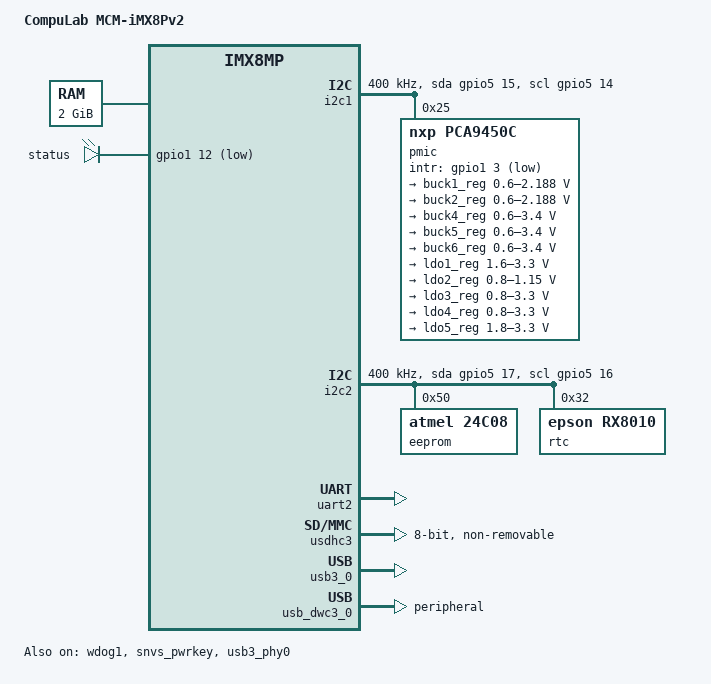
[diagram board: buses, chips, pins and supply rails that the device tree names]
// SPDX-License-Identifier: (GPL-2.0+ OR MIT)
/*
 * Copyright 2026 CompuLab
 */

/dts-v1/;

#include "imx8mp.dtsi"

/ {
	model = "CompuLab MCM-iMX8Pv2";
	compatible = "compulab,mcm-imx8pv2", "fsl,imx8mp";

	chosen {
		bootargs = "console=ttymxc1,115200 earlycon=ec_imx6q,0x30890000,115200";
		stdout-path = &uart2;
	};

	memory@40000000 {
		device_type = "memory";
		reg = <0x0 0x40000000 0 0x80000000>,
		      <0x1 0x00000000 0 0x00000000>;
	};

	leds {
		compatible = "gpio-leds";
		pinctrl-names = "default";
		pinctrl-0 = <&pinctrl_gpio_led>;

		status {
			label = "status";
			gpios = <&gpio1 12 GPIO_ACTIVE_LOW>;
			default-state = "on";
		};
	};
};

&i2c1 {
	clock-frequency = <400000>;
	pinctrl-names = "default", "gpio";
	pinctrl-0 = <&pinctrl_i2c1>;
	pinctrl-1 = <&pinctrl_i2c1_gpio>;
	scl-gpios = <&gpio5 14 GPIO_ACTIVE_HIGH>;
	sda-gpios = <&gpio5 15 GPIO_ACTIVE_HIGH>;
	status = "okay";

	pmic: pca9450@25 {
		reg = <0x25>;
		compatible = "nxp,pca9450c";
		/* PMIC PCA9450 PMIC_nINT GPIO1_IO3 */
		pinctrl-0 = <&pinctrl_pmic>;
		gpio_intr = <&gpio1 3 GPIO_ACTIVE_LOW>;

		regulators {
			#address-cells = <1>;
			#size-cells = <0>;

			pca9450,pmic-buck2-uses-i2c-dvs;
			/* Run/Standby voltage */
			pca9450,pmic-buck2-dvs-voltage = <950000>, <850000>;

			buck1_reg: regulator@0 {
				reg = <0>;
				regulator-compatible = "buck1";
				regulator-min-microvolt = <600000>;
				regulator-max-microvolt = <2187500>;
				regulator-boot-on;
				regulator-always-on;
				regulator-ramp-delay = <3125>;
			};

			buck2_reg: regulator@1 {
				reg = <1>;
				regulator-compatible = "buck2";
				regulator-min-microvolt = <600000>;
				regulator-max-microvolt = <2187500>;
				regulator-boot-on;
				regulator-always-on;
				regulator-ramp-delay = <3125>;
			};

			buck4_reg: regulator@3 {
				reg = <3>;
				regulator-compatible = "buck4";
				regulator-min-microvolt = <600000>;
				regulator-max-microvolt = <3400000>;
				regulator-boot-on;
				regulator-always-on;
			};

			buck5_reg: regulator@4 {
				reg = <4>;
				regulator-compatible = "buck5";
				regulator-min-microvolt = <600000>;
				regulator-max-microvolt = <3400000>;
				regulator-boot-on;
				regulator-always-on;
			};

			buck6_reg: regulator@5 {
				reg = <5>;
				regulator-compatible = "buck6";
				regulator-min-microvolt = <600000>;
				regulator-max-microvolt = <3400000>;
				regulator-boot-on;
				regulator-always-on;
			};

			ldo1_reg: regulator@6 {
				reg = <6>;
				regulator-compatible = "ldo1";
				regulator-min-microvolt = <1600000>;
				regulator-max-microvolt = <3300000>;
				regulator-boot-on;
				regulator-always-on;
			};

			ldo2_reg: regulator@7 {
				reg = <7>;
				regulator-compatible = "ldo2";
				regulator-min-microvolt = <800000>;
				regulator-max-microvolt = <1150000>;
				regulator-boot-on;
				regulator-always-on;
			};

			ldo3_reg: regulator@8 {
				reg = <8>;
				regulator-compatible = "ldo3";
				regulator-min-microvolt = <800000>;
				regulator-max-microvolt = <3300000>;
				regulator-boot-on;
				regulator-always-on;
			};

			ldo4_reg: regulator@9 {
				reg = <9>;
				regulator-compatible = "ldo4";
				regulator-min-microvolt = <800000>;
				regulator-max-microvolt = <3300000>;
				regulator-boot-on;
				regulator-always-on;
			};

			ldo5_reg: regulator@10 {
				reg = <10>;
				regulator-compatible = "ldo5";
				regulator-min-microvolt = <1800000>;
				regulator-max-microvolt = <3300000>;
			};
		};
	};
};

&i2c2 {
	clock-frequency = <400000>;
	pinctrl-names = "default", "gpio";
	pinctrl-0 = <&pinctrl_i2c2>;
	pinctrl-1 = <&pinctrl_i2c2_gpio>;
	scl-gpios = <&gpio5 16 GPIO_ACTIVE_HIGH>;
	sda-gpios = <&gpio5 17 GPIO_ACTIVE_HIGH>;
	status = "okay";

	eeprom@50 {
		compatible = "atmel,24c08";
		reg = <0x50>;
		pagesize = <16>;
	};

	rtc@32 {
		compatible = "epson,rx8010";
		reg = <0x32>;
	};
};

&uart2 {
	/* console */
	pinctrl-names = "default";
	pinctrl-0 = <&pinctrl_uart2>;
	status = "okay";
};

&usdhc3 {
	pinctrl-names = "default", "state_100mhz", "state_200mhz";
	pinctrl-0 = <&pinctrl_usdhc3>;
	pinctrl-1 = <&pinctrl_usdhc3_100mhz>;
	pinctrl-2 = <&pinctrl_usdhc3_200mhz>;
	bus-width = <8>;
	non-removable;
	status = "okay";
};

&wdog1 {
	pinctrl-names = "default";
	pinctrl-0 = <&pinctrl_wdog>;
	fsl,ext-reset-output;
	status = "okay";
};

&snvs_pwrkey {
	status = "okay";
};

/* USB1 is also the ROM serial-download port on the carrier interface. */
&usb3_phy0 {
	status = "okay";
};

&usb3_0 {
	status = "okay";
};

&usb_dwc3_0 {
	dr_mode = "peripheral";
	status = "okay";
};

&iomuxc {
	pinctrl_gpio_led: gpioledgrp {
		fsl,pins = <
			MX8MP_IOMUXC_GPIO1_IO12__GPIO1_IO12	0x140
		>;
	};

	pinctrl_i2c1: i2c1grp {
		fsl,pins = <
			MX8MP_IOMUXC_I2C1_SCL__I2C1_SCL		0x400001c2
			MX8MP_IOMUXC_I2C1_SDA__I2C1_SDA		0x400001c2
		>;
	};

	pinctrl_i2c1_gpio: i2c1grp-gpio {
		fsl,pins = <
			MX8MP_IOMUXC_I2C1_SCL__GPIO5_IO14        	0x1c2
			MX8MP_IOMUXC_I2C1_SDA__GPIO5_IO15        	0x1c2
		>;
	};

	pinctrl_i2c2: i2c2grp {
		fsl,pins = <
			MX8MP_IOMUXC_I2C2_SCL__I2C2_SCL			0x400001c2
			MX8MP_IOMUXC_I2C2_SDA__I2C2_SDA			0x400001c2
		>;
	};

	pinctrl_i2c2_gpio: i2c2grp-gpio {
		fsl,pins = <
			MX8MP_IOMUXC_I2C2_SCL__GPIO5_IO16        	0x1c2
			MX8MP_IOMUXC_I2C2_SDA__GPIO5_IO17        	0x1c2
		>;
	};

	pinctrl_pmic: pmicirq {
		fsl,pins = <
			MX8MP_IOMUXC_GPIO1_IO03__GPIO1_IO03	0x000001c0
		>;
	};

	pinctrl_uart2: uart2grp {
		fsl,pins = <
			MX8MP_IOMUXC_UART2_RXD__UART2_DCE_RX	0x140
			MX8MP_IOMUXC_UART2_TXD__UART2_DCE_TX	0x140
		>;
	};

	pinctrl_usdhc3: usdhc3grp {
		fsl,pins = <
			MX8MP_IOMUXC_NAND_WE_B__USDHC3_CLK	0x190
			MX8MP_IOMUXC_NAND_WP_B__USDHC3_CMD	0x1d0
			MX8MP_IOMUXC_NAND_DATA04__USDHC3_DATA0	0x1d0
			MX8MP_IOMUXC_NAND_DATA05__USDHC3_DATA1	0x1d0
			MX8MP_IOMUXC_NAND_DATA06__USDHC3_DATA2	0x1d0
			MX8MP_IOMUXC_NAND_DATA07__USDHC3_DATA3	0x1d0
			MX8MP_IOMUXC_NAND_RE_B__USDHC3_DATA4	0x1d0
			MX8MP_IOMUXC_NAND_CE2_B__USDHC3_DATA5	0x1d0
			MX8MP_IOMUXC_NAND_CE3_B__USDHC3_DATA6	0x1d0
			MX8MP_IOMUXC_NAND_CLE__USDHC3_DATA7	0x1d0
			MX8MP_IOMUXC_NAND_CE1_B__USDHC3_STROBE	0x190
		>;
	};

	pinctrl_usdhc3_100mhz: usdhc3grp-100mhz {
		fsl,pins = <
			MX8MP_IOMUXC_NAND_WE_B__USDHC3_CLK	0x194
			MX8MP_IOMUXC_NAND_WP_B__USDHC3_CMD	0x1d4
			MX8MP_IOMUXC_NAND_DATA04__USDHC3_DATA0	0x1d4
			MX8MP_IOMUXC_NAND_DATA05__USDHC3_DATA1	0x1d4
			MX8MP_IOMUXC_NAND_DATA06__USDHC3_DATA2	0x1d4
			MX8MP_IOMUXC_NAND_DATA07__USDHC3_DATA3	0x1d4
			MX8MP_IOMUXC_NAND_RE_B__USDHC3_DATA4	0x1d4
			MX8MP_IOMUXC_NAND_CE2_B__USDHC3_DATA5	0x1d4
			MX8MP_IOMUXC_NAND_CE3_B__USDHC3_DATA6	0x1d4
			MX8MP_IOMUXC_NAND_CLE__USDHC3_DATA7	0x1d4
			MX8MP_IOMUXC_NAND_CE1_B__USDHC3_STROBE	0x194
		>;
	};

	pinctrl_usdhc3_200mhz: usdhc3grp-200mhz {
		fsl,pins = <
			MX8MP_IOMUXC_NAND_WE_B__USDHC3_CLK	0x196
			MX8MP_IOMUXC_NAND_WP_B__USDHC3_CMD	0x1d6
			MX8MP_IOMUXC_NAND_DATA04__USDHC3_DATA0	0x1d6
			MX8MP_IOMUXC_NAND_DATA05__USDHC3_DATA1	0x1d6
			MX8MP_IOMUXC_NAND_DATA06__USDHC3_DATA2	0x1d6
			MX8MP_IOMUXC_NAND_DATA07__USDHC3_DATA3	0x1d6
			MX8MP_IOMUXC_NAND_RE_B__USDHC3_DATA4	0x1d6
			MX8MP_IOMUXC_NAND_CE2_B__USDHC3_DATA5	0x1d6
			MX8MP_IOMUXC_NAND_CE3_B__USDHC3_DATA6	0x1d6
			MX8MP_IOMUXC_NAND_CLE__USDHC3_DATA7	0x1d6
			MX8MP_IOMUXC_NAND_CE1_B__USDHC3_STROBE	0x196
		>;
	};

	pinctrl_wdog: wdoggrp {
		fsl,pins = <
			MX8MP_IOMUXC_GPIO1_IO02__WDOG1_WDOG_B	0xc6
		>;
	};

};

#include "sbc-mcm8pv2.dtsi"
